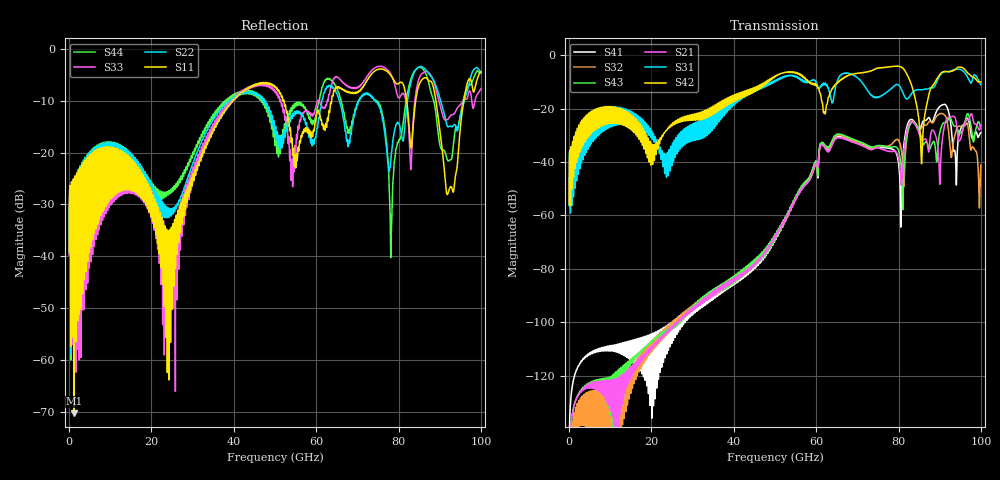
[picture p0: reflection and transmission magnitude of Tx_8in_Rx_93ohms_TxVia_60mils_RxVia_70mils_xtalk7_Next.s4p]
! Info: Touchstone file created by Circ.  Input file=Tx_8in_Rx_93ohms_TxVia_60mils_RxVia_70mils.circ
# Hz S RI R 50
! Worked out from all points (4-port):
!   10000 points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, 10 MHz to 100 GHz, reference 50 ohm
!   strongest paths, dB at 10 MHz, 25.01 GHz, 50.01 GHz, 75.01 GHz, 100 GHz:
!     S42: -55.7, -26.4, -7.9, -4.9, -10.0
!     S31: -56.4, -36.8, -9.6, -15.8, -11.1
!     S21: -167.1, -102.0, -67.5, -34.8, -26.0
!     S43: -154.6, -102.7, -67.3, -33.8, -27.5
!     S32: -170.3, -102.7, -67.4, -34.1, -41.1
!     S41: -150.3, -102.8, -68.1, -34.4, -29.0
!   lowest |S11| = -70.2 dB at 1.25 GHz (marker M1), VSWR 1.00, Z = 50 - j0.00103 ohm
!   |S11| at or under -10 dB: start of sweep to 39.81 GHz; 52.18 GHz to 63.76 GHz (11.58 GHz wide, 20 % of centre); 89.08 GHz to 95.86 GHz (6.789 GHz wide, 7.34 % of centre) (the widest 3 of 5)
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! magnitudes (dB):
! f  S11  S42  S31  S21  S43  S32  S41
! 10 MHz  -39.1  -55.7  -56.4  -167.1  -154.6  -170.3  -150.3
! 1.25 GHz  -70.2  -30.4  -30.5  -131.1  -130.7  -134.6  -120.5
! 44.67 GHz  -7.2  -12.2  -12.4  -79.3  -79.3  -79.5  -80.4
! 65.16 GHz  -7.3  -10.4  -9.6  -31.0  -29.6  -29.9  -30.6
! 78.18 GHz  -5.2  -4.3  -12.6  -36.0  -34.4  -33.4  -35.0
! 85.58 GHz  -6.1  -40.6  -13.0  -31.8  -31.1  -27.3  -26.2
! 100 GHz  -4.4  -10.0  -11.1  -26.0  -27.5  -41.1  -29.0
